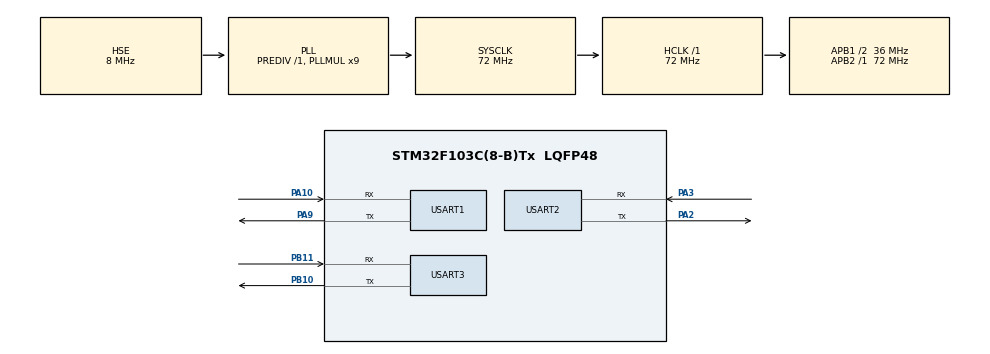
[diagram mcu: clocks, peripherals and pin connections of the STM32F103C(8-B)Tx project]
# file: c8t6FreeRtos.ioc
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FREERTOS.MEMORY_ALLOCATION=0
FREERTOS.Tasks01=defaultTask,0,128,StartDefaultTask,Default,NULL,Dynamic,NULL,NULL
FREERTOS.configMAX_PRIORITIES=15
Mcu.Family=STM32F1
Mcu.Name=STM32F103C(8-B)Tx
Mcu.Package=LQFP48
NVIC.PriorityGroup=NVIC_PRIORITYGROUP_4
NVIC.TIM1_UP_IRQn=true\:0\:0\:false\:false\:true\:false\:false\:true
NVIC.TimeBase=TIM1_UP_IRQn
NVIC.TimeBaseIP=TIM1
NVIC.USART1_IRQn=true\:5\:0\:false\:false\:true\:true\:true\:true
NVIC.USART2_IRQn=true\:5\:0\:false\:false\:true\:true\:true\:true
NVIC.USART3_IRQn=true\:5\:0\:false\:false\:true\:true\:true\:true
PA10.Mode=Asynchronous
PA10.Signal=USART1_RX
PA13.Mode=Serial_Wire
PA13.Signal=SYS_JTMS-SWDIO
PA14.Mode=Serial_Wire
PA14.Signal=SYS_JTCK-SWCLK
PA2.Mode=Asynchronous
PA2.Signal=USART2_TX
PA3.Mode=Asynchronous
PA3.Signal=USART2_RX
PA9.Mode=Asynchronous
PA9.Signal=USART1_TX
PB10.Mode=Asynchronous
PB10.Signal=USART3_TX
PB11.Mode=Asynchronous
PB11.Signal=USART3_RX
PD0-OSC_IN.Mode=HSE-External-Oscillator
PD0-OSC_IN.Signal=RCC_OSC_IN
PD1-OSC_OUT.Mode=HSE-External-Oscillator
PD1-OSC_OUT.Signal=RCC_OSC_OUT
ProjectManager.HeapSize=0x200
ProjectManager.StackSize=0x400
ProjectManager.TargetToolchain=MDK-ARM V5.27
RCC.AHBFreq_Value=72000000
RCC.APB1CLKDivider=RCC_HCLK_DIV2
RCC.APB1Freq_Value=36000000
RCC.APB1TimFreq_Value=72000000
RCC.APB2Freq_Value=72000000
RCC.APB2TimFreq_Value=72000000
RCC.HCLKFreq_Value=72000000
RCC.PLLMUL=RCC_PLL_MUL9
RCC.PLLSourceVirtual=RCC_PLLSOURCE_HSE
RCC.SYSCLKFreq_VALUE=72000000
RCC.SYSCLKSource=RCC_SYSCLKSOURCE_PLLCLK
RCC.USBFreq_Value=72000000
USART1.VirtualMode=VM_ASYNC
USART2.VirtualMode=VM_ASYNC
USART3.VirtualMode=VM_ASYNC
VP_FREERTOS_VS_CMSIS_V1.Mode=CMSIS_V1
VP_SYS_VS_tim1.Mode=TIM1
board=custom

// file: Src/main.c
#include "main.h"
#include "cmsis_os.h"
#include "infrared.h"

/*7月23日之前一直用的是01系列的8266*/
/*7月23日加入了新版07系列的8266*/

#ifdef __GNUC__
  #define PUTCHAR_PROTOTYPE int __io_putchar(int ch)
#else
  #define PUTCHAR_PROTOTYPE int fputc(int ch, FILE *f)
#endif

PUTCHAR_PROTOTYPE
{
  HAL_UART_Transmit(&huart3,(uint8_t *)&ch,1,0xFFFF);//阻塞方式打印
  return ch;
}
/* USER CODE END PD */

UART_HandleTypeDef huart1;
UART_HandleTypeDef huart2;
UART_HandleTypeDef huart3;
IWDG_HandleTypeDef hiwdg;

osThreadId defaultTaskHandle;

UPDATE_ALL_TABLE_TYPEDEF  all_table_data={.id = {0}};
TO_APP_Typedef to_app={.id = {0}};
NOW_TIME_STAMP_Typedef now_time_stamp;
UPDATE_ALL_TABLE_TYPEDEF download_update_table = {.id = {0}};
AIR_SAVE_CODE_TYPE air_save_code;

TABBLE_TRIG table_update_trig = {
	.lcd_id_recover=false,
	.pc_to_mcu_trig=false,
	.net_to_mcu_trig=false,
	.lcd_to_mcu_trig=false,
	.mcu_to_pc_trig=true,
	.mcu_to_net_trig=true,
  .mcu_to_lcd_trig=true,
	.net_trig = true,
	.write_flash = false,
	.get_pc_heart = true,
	.mcu_send_to_app_to_pc = false,
	.change_id = false,
	.lcd_work_mode = IS_AUTO_MODE,
	.get_wifi_new_con = false,
	.pc_change_work_status = false,
	.net_change_work_status = false,
	.update_net_time_trig = false,
	.update_net_trig_send = false,
	.lcd_id_mcu = false,
	.mcu_id_lcd = false,
	.wifi_pc_mode = false		//false 为wifi模式，true为PC模式
};

__485_CMD_Type __485_send_cmd={
	.head = _485_CMD_HEAD,
	.tail = _485_CMD_TAIL,
};

uint32_t get_tamp;
WORK_WAY_TYEP work_way_status = {.head = GET_DEV_STATUS_HEAD,.tail = GET_DEV_STATUS_TAIL};
FLASH_STORE flash_store;
NET_TIME net_time;

/* USER CODE BEGIN PV */
USART1_RCV_Typedef usart1_rcv;
USARTx_RCV_Typedef usart2_rcv;
USARTx_RCV_Typedef usart3_rcv;

uint8_t network_pc_count = 0;	//wifi PC端转换计数器
/* USER CODE END PV */
static char topic[70];

void SystemClock_Config(void);
static void MX_GPIO_Init(void);
static void MX_USART1_UART_Init(void);
static void MX_USART2_UART_Init(void);
static void MX_USART3_UART_Init(void);
void StartDefaultTask(void const * argument);

/* USER CODE BEGIN PFP */
/************************************************任务创建配置*********************************************/
/**********freeRtos开始任务函数*******************/
#define START_TASK_PRIO		1
#define START_STK_SIZE 		128
TaskHandle_t StartTask_Handler;
void start_task(void *pvParameters);

/**********网络处理任务*******************/
#define NET_WORK_TASK_PRIO		2
#define NET_WORK_STK_SIZE 		700
TaskHandle_t NET_WORK_Task_Handler;
TaskHandle_t NET_WORK_Task_Handler1;
void esp826601_net_work_task(void *pvParameters);
void esp826607_net_work_task(void *pvParameters);
/**********触摸屏处理任务*******************/
#define LCD_TASK_PRIO		3
#define LCD_STK_SIZE 		350
TaskHandle_t LCD_Task_Handler;
void lcd_task(void *pvParameters);
/**********继电器处理任务*******************/
#define RELAY_TASK_PRIO		4
#define RELAY_STK_SIZE 		100
TaskHandle_t RELAY_Task_Handler;
void relay_task(void *pvParameters);

/**********温湿度读取任务*******************/
#define TEMP_HUMI_TASK_PRIO		5
#define TEMP_HUMI_STK_SIZE 		350
TaskHandle_t TEMP_HUMI_Task_Handler;
void temp_humi_task(void *pvParameters);
/**********任务*******************/
#define RUN_DEAL_TASK_PRIO		6
#define RUN_DEAL_STK_SIZE 		400
TaskHandle_t RUN_DEAL_Task_Handler;
void run_deal_task(void *pvParameters);
/**********pc端通信任务*******************/
#define PC_DEAL_TASK_PRIO		7
#define PC_DEAL_STK_SIZE 		250
TaskHandle_t PC_DEAL_Task_Handler;
void pc_deal_task(void *pvParameters);
/* USER CODE END PFP */

int main(void)
{
   flash_read((uint16_t*)&all_table_data,sizeof(UPDATE_ALL_TABLE_TYPEDEF));
	//将flash的id，后13位置位0
	memset(all_table_data.id+13,0,7);

		//读取设备工作模式和WIFI名字和密码
	flash__read((uint16_t*)&flash_store,sizeof(FLASH_STORE));

	if(flash_store.work_way_status.head != GET_DEV_STATUS_HEAD || flash_store.work_way_status.tail !=GET_DEV_STATUS_TAIL ){
		flash_store.work_way_status.head = GET_DEV_STATUS_HEAD;
		flash_store.work_way_status.tail = GET_DEV_STATUS_TAIL;
		flash_store.work_way_status.reasure_count = 0;
		flash_store.work_way_status.work_status = GONGYU_STA;
	}

  /* Reset of all peripherals, Initializes the Flash interface and the Systick. */
  HAL_Init();

  /* Configure the system clock */
  SystemClock_Config();

  /* Initialize all configured peripherals */
	Ir_Init();
  MX_GPIO_Init();
  MX_USART1_UART_Init();
  MX_USART2_UART_Init();
  MX_USART3_UART_Init();

  /* USER CODE BEGIN 2 */

	to_app.head = TO_APP_HEAD;
	to_app.tail = TO_APP_TAIL;
	all_table_data.head = TABLE_HEAD;
	all_table_data.tail = TABLE_TAIL;

	memcpy(to_app.id ,all_table_data.id,sizeof(all_table_data.id));
	memcpy(__485_send_cmd.id ,all_table_data.id,sizeof(__485_send_cmd.id));

	wifi_cfg=flash_store.wifi_cfg;
	wifi_cfg.wif_conect_status = false;
	wifi_cfg.enable = true;
	work_way_status = flash_store.work_way_status;

   xTaskCreate((TaskFunction_t )start_task,            //任务函数
                (const char*    )"start_task",          //任务名称
                (uint16_t       )START_STK_SIZE,        //任务堆栈大小
                (void*          )NULL,                  //传递给任务函数的参数
                (UBaseType_t    )START_TASK_PRIO,       //任务优先级
                (TaskHandle_t*  )&StartTask_Handler);   //任务句柄
   vTaskStartScheduler();          //开启任务

  while (1)
  {

  /* USER CODE END 3 */
	}
}
void SystemClock_Config(void)
{
  RCC_OscInitTypeDef RCC_OscInitStruct = {0};
  RCC_ClkInitTypeDef RCC_ClkInitStruct = {0};

  /** Initializes the RCC Oscillators according to the specified parameters
  * in the RCC_OscInitTypeDef structure.
  */
  RCC_OscInitStruct.OscillatorType = RCC_OSCILLATORTYPE_HSE;
  RCC_OscInitStruct.HSEState = RCC_HSE_ON;
  RCC_OscInitStruct.HSEPredivValue = RCC_HSE_PREDIV_DIV1;
  RCC_OscInitStruct.HSIState = RCC_HSI_ON;
  RCC_OscInitStruct.PLL.PLLState = RCC_PLL_ON;
  RCC_OscInitStruct.PLL.PLLSource = RCC_PLLSOURCE_HSE;
  RCC_OscInitStruct.PLL.PLLMUL = RCC_PLL_MUL9;
  if (HAL_RCC_OscConfig(&RCC_OscInitStruct) != HAL_OK)
  {
    Error_Handler();
  }
  /** Initializes the CPU, AHB and APB buses clocks
  */
  RCC_ClkInitStruct.ClockType = RCC_CLOCKTYPE_HCLK|RCC_CLOCKTYPE_SYSCLK
                              |RCC_CLOCKTYPE_PCLK1|RCC_CLOCKTYPE_PCLK2;
  RCC_ClkInitStruct.SYSCLKSource = RCC_SYSCLKSOURCE_PLLCLK;
  RCC_ClkInitStruct.AHBCLKDivider = RCC_SYSCLK_DIV1;
  RCC_ClkInitStruct.APB1CLKDivider = RCC_HCLK_DIV2;
  RCC_ClkInitStruct.APB2CLKDivider = RCC_HCLK_DIV1;

  if (HAL_RCC_ClockConfig(&RCC_ClkInitStruct, FLASH_LATENCY_2) != HAL_OK)
  {
    Error_Handler();
  }
}

static void MX_USART1_UART_Init(void)
{

  huart1.Instance = USART1;
  huart1.Init.BaudRate = 115200;
  huart1.Init.WordLength = UART_WORDLENGTH_8B;
  huart1.Init.StopBits = UART_STOPBITS_1;
  huart1.Init.Parity = UART_PARITY_NONE;
  huart1.Init.Mode = UART_MODE_TX_RX;
  huart1.Init.HwFlowCtl = UART_HWCONTROL_NONE;
  huart1.Init.OverSampling = UART_OVERSAMPLING_16;
  if (HAL_UART_Init(&huart1) != HAL_OK)
  {
    Error_Handler();
  }
  /* USER CODE BEGIN USART1_Init 2 */
	__HAL_UART_ENABLE_IT(&huart1, UART_IT_IDLE);
	HAL_UART_Receive_IT(&huart1, usart1_rcv.arry, USART1_RCV_MAX_LEN);
  /* USER CODE END USART1_Init 2 */

}

static void MX_USART2_UART_Init(void)
{

  huart2.Instance = USART2;
  huart2.Init.BaudRate = 115200;
  huart2.Init.WordLength = UART_WORDLENGTH_8B;
  huart2.Init.StopBits = UART_STOPBITS_1;
  huart2.Init.Parity = UART_PARITY_NONE;
  huart2.Init.Mode = UART_MODE_TX_RX;
  huart2.Init.HwFlowCtl = UART_HWCONTROL_NONE;
  huart2.Init.OverSampling = UART_OVERSAMPLING_16;
  if (HAL_UART_Init(&huart2) != HAL_OK)
  {
    Error_Handler();
  }
  /* USER CODE BEGIN USART2_Init 2 */
	__HAL_UART_ENABLE_IT(&huart2, UART_IT_IDLE);
	HAL_UART_Receive_IT(&huart2, usart2_rcv.arry, USARTx_RCV_MAX_LEN);
  /* USER CODE END USART2_Init 2 */

}

static void MX_USART3_UART_Init(void)
{

  huart3.Instance = USART3;
  huart3.Init.BaudRate = 115200;
  huart3.Init.WordLength = UART_WORDLENGTH_8B;
  huart3.Init.StopBits = UART_STOPBITS_1;
  huart3.Init.Parity = UART_PARITY_NONE;
  huart3.Init.Mode = UART_MODE_TX_RX;
  huart3.Init.HwFlowCtl = UART_HWCONTROL_NONE;
  huart3.Init.OverSampling = UART_OVERSAMPLING_16;
  if (HAL_UART_Init(&huart3) != HAL_OK)
  {
    Error_Handler();
  }
  /* USER CODE BEGIN USART3_Init 2 */
	__HAL_UART_ENABLE_IT(&huart3, UART_IT_IDLE);
	HAL_UART_Receive_IT(&huart3, usart3_rcv.arry, USARTx_RCV_MAX_LEN);
  /* USER CODE END USART3_Init 2 */

}

static void MX_GPIO_Init(void)
{

  /* GPIO Ports Clock Enable */
  __HAL_RCC_GPIOD_CLK_ENABLE();
  __HAL_RCC_GPIOA_CLK_ENABLE();
  __HAL_RCC_GPIOB_CLK_ENABLE();
	__HAL_RCC_GPIOC_CLK_ENABLE();

	GPIO_InitTypeDef GPIO_initStruct = {0};
	GPIO_initStruct.Pin = INS_LED_PIN;
	GPIO_initStruct.Mode = GPIO_MODE_OUTPUT_PP;
	GPIO_initStruct.Pull = GPIO_NOPULL;
	GPIO_initStruct.Speed = GPIO_SPEED_FREQ_HIGH;
	HAL_GPIO_Init(INS_LED_PORT,&GPIO_initStruct);

	GPIO_initStruct.Pin = wifi_LED_PIN;
	GPIO_initStruct.Mode = GPIO_MODE_OUTPUT_PP;
	GPIO_initStruct.Pull = GPIO_NOPULL;
	GPIO_initStruct.Speed = GPIO_SPEED_FREQ_HIGH;
	HAL_GPIO_Init(wifi_LED_PORT,&GPIO_initStruct);
					wifi_LED_OFF;
	relay_init();

	//看门狗时间 LSI 频率40khz,最小的时间:0.8
//	hiwdg.Instance =  IWDG;
//	hiwdg.Init.Prescaler = IWDG_PRESCALER_32;
//	hiwdg.Init.Reload = 0xFFF;
//  HAL_IWDG_Init(&hiwdg);
//	HAL_IWDG_Refresh(&hiwdg);
}

/* USER CODE BEGIN 4 */

//传感器
void huart1_recive_idel_reback(void)
{
	uint32_t idel_flag;

	//
  idel_flag = __HAL_UART_GET_FLAG(&huart1,UART_FLAG_IDLE);
	if(idel_flag != RESET){
		__HAL_UART_CLEAR_IDLEFLAG(&huart1);
		usart1_rcv.count =  USART1_RCV_MAX_LEN - huart1.RxXferCount;

		usart1_rcv.rcv_ok = true;

		if(usart1_rcv.arry[0] == CHANGE_ID_HEAD && usart1_rcv.arry[usart1_rcv.count-3] == CHANGE_ID_TAIL ){
			    download_update_table = *((UPDATE_ALL_TABLE_TYPEDEF*)&usart1_rcv.arry[0]);
					uint16_t crc = CRC16_2_modbus((uint8_t*)&download_update_table,sizeof(UPDATE_ALL_TABLE_TYPEDEF)-2);
					if(download_update_table.crc == crc){
							all_table_data = download_update_table;
						  table_update_trig.change_id = true;
							__485_send_cmd.cmd = DEV_ALIVE_PACK_BACK;
							__485_send_cmd.crc =  CRC16_2_modbus((uint8_t*)&__485_send_cmd,sizeof(__485_CMD_Type)-2);
							HAL_UART_Transmit_IT(&huart1,(uint8_t*)&__485_send_cmd,sizeof(__485_CMD_Type));
					}
		}

		if(usart1_rcv.arry[0] == GET_AIR_CODE_HEAD && usart1_rcv.arry[usart1_rcv.count-3] == GET_AIR_CODE_TAIL ){
						//air_save_code = *((AIR_SAVE_CODE_TYPE*)&usart1_rcv.arry[0]);
						memset(&save_data,0,sizeof(save_data));
						memcpy(&air_save_code,usart1_rcv.arry,sizeof(air_save_code));
						uint16_t crc = CRC16_2_modbus((uint8_t*)&air_save_code,sizeof(AIR_SAVE_CODE_TYPE)-2);
						if( air_save_code.crc == crc){
								save_data = air_save_code.data;
								if( (AIR_STATUS)air_save_code.air == AIR_CLOSE ){
											table_update_trig.pc_air_learn.air_close_learn_status = true;
								}else if( (AIR_STATUS)air_save_code.air == AIR_COLD){
											table_update_trig.pc_air_learn.air_clod_learn_status = true;
								}else if( (AIR_STATUS)air_save_code.air == AIR_HEAT){
											table_update_trig.pc_air_learn.air_heat_learn_status = true;
								}
						}
		}
		HAL_UART_AbortReceive_IT(&huart1);
		HAL_UART_Receive_IT(&huart1, usart1_rcv.arry, USART1_RCV_MAX_LEN);
	}

}

//屏幕
void huart2_recive_idel_reback(void)
{
	uint32_t idel_flag;
	//uint32_t clr_1;
	const uint8_t trig[14] 			= {0xEE,0XB1,0X11,0X00,0X07,0X00,0X01,0X10,0X00,0X01,0XFF,0XFC,0XFF,0XFF};
	const uint8_t air_heat[14]	= {0xEE,0xB1,0x11,0x00,0x0E,0x00,0x02,0x10,0x01,0x01,0xFF,0xFC,0xFF,0xFF};
	const uint8_t air_clod[14]	= {0xEE,0xB1,0x11,0x00,0x0E,0x00,0x03,0x10,0x01,0x01,0xFF,0xFC,0xFF,0xFF};
	const uint8_t air_close[14]	= {0xEE,0xB1,0x11,0x00,0x0E,0x00,0x04,0x10,0x01,0x01,0xFF,0xFC,0xFF,0xFF};
	const uint8_t wifi_con[14] 	= {0xEE,0xB1,0x11,0x00,0x10,0x00,0x04,0x10,0x01,0x01,0xFF,0xFC,0xFF,0xFF};

	const uint8_t id_trig[] 		= {0xEE,0xB1,0x11,0x00,0x0D,0x00,0x0B,0x10,0x01,0x01,0xFF,0xFC,0xFF,0xFF};

	const uint8_t system_id_recover[] = {0xEE,0xB1,0x11,0x00,0x14,0x00,0x03,0x10,0x01,0x01,0xFF,0xFC,0xFF,0xFF };

  idel_flag = __HAL_UART_GET_FLAG(&huart2,UART_FLAG_IDLE);
	if(idel_flag != RESET){
		 __HAL_UART_CLEAR_IDLEFLAG(&huart2);
		usart2_rcv.count =  USARTx_RCV_MAX_LEN - huart2.RxXferCount;;
		usart2_rcv.rcv_ok = true;

		if(memcmp(usart2_rcv.arry,trig,sizeof(trig)) == 0){
				table_update_trig.lcd_to_mcu_trig = true;
				usart2_rcv.count =0;
		}
		else if( memcmp(usart2_rcv.arry,id_trig,sizeof(id_trig)) == 0){
				table_update_trig.lcd_id_mcu = true;
				usart2_rcv.count =0;
		}

		if(memcmp(usart2_rcv.arry,system_id_recover,sizeof(system_id_recover)) == 0){
			table_update_trig.lcd_id_recover = true;
			usart2_rcv.count =0;
		}

		if(memcmp(usart2_rcv.arry,air_heat,sizeof(air_heat)) == 0){
			air_learn_status.air_heat_learn_status = true;
		}else if(memcmp(usart2_rcv.arry,air_clod,sizeof(air_clod)) == 0){
		  air_learn_status.air_clod_learn_status = true;
		}else if(memcmp(usart2_rcv.arry,air_close,sizeof(air_close)) == 0){
			air_learn_status.air_close_learn_status = true;
		}else if(memcmp(usart2_rcv.arry,wifi_con,sizeof(wifi_con)) == 0){
			table_update_trig.wifi_con = true;
		}

		HAL_UART_AbortReceive_IT(&huart2);
	  HAL_UART_Receive_IT(&huart2, usart2_rcv.arry, USARTx_RCV_MAX_LEN);

	}
}

//PC WIFI 红外
void huart3_recive_idel_reback(void)
{
	uint32_t idel_flag;
	//uint32_t clr_3;
	//__485_CMD_Type cmd_type;
  idel_flag = __HAL_UART_GET_FLAG(&huart3,UART_FLAG_IDLE);
	if(idel_flag != RESET){
		 __HAL_UART_CLEAR_IDLEFLAG(&huart3);
		usart3_rcv.count =  USARTx_RCV_MAX_LEN - huart3.RxXferCount;;
		usart3_rcv.rcv_ok = true;
		__485_CMD_Type cmd_type;

	if(usart3_rcv.arry[0] == CHANGE_ID_HEAD && usart3_rcv.arry[usart3_rcv.count-3] == CHANGE_ID_TAIL ){
			    download_update_table = *((UPDATE_ALL_TABLE_TYPEDEF*)&usart3_rcv.arry[0]);
					uint16_t crc = CRC16_2_modbus((uint8_t*)&download_update_table,sizeof(UPDATE_ALL_TABLE_TYPEDEF)-2);
					if(download_update_table.crc == crc){
							all_table_data = download_update_table;
						  table_update_trig.change_id = true;
							__485_send_cmd.cmd = DEV_ALIVE_PACK_BACK;
							__485_send_cmd.crc =  CRC16_2_modbus((uint8_t*)&__485_send_cmd,sizeof(__485_CMD_Type)-2);
							HAL_UART_Transmit_IT(&huart3,(uint8_t*)&__485_send_cmd,sizeof(__485_CMD_Type));
					}
		}
		else if(usart3_rcv.arry[0] == _485_CMD_HEAD && usart3_rcv.arry[usart3_rcv.count-3] == _485_CMD_TAIL){
			cmd_type = *((__485_CMD_Type*)&usart3_rcv.arry[0]);
			if(strcmp(cmd_type.id,to_app.id) == 0)
			 switch(cmd_type.cmd){
				 case DEV_ALIVE_PACK:
					    table_update_trig.mcu_send_to_app_to_pc = true;
				      break;
				 case AIR_HEAT_LEARN_STA:
					    air_learn_status.air_heat_learn_status = true;
				      break;
				 case AIR_CLOD_LEARN_STA:
					    air_learn_status.air_clod_learn_status = true;
				      break;
				 case AIR_CLOSE_LEARN_STA:
					    air_learn_status.air_close_learn_status = true;
				      break;

			 }
		}else if(usart3_rcv.arry[0] == GET_DEV_STATUS_HEAD && usart3_rcv.arry[usart3_rcv.count-3] == GET_DEV_STATUS_TAIL){
		   static WORK_WAY_TYEP work_way1;

			 work_way1 = *((WORK_WAY_TYEP*)&usart3_rcv.arry[0]);
			 uint16_t crc = CRC16_2_modbus((uint8_t*)&work_way1,sizeof(WORK_WAY_TYEP)-2);
			 if(work_way1.crc == crc && strcmp(work_way1.id,to_app.id) == 0){
				work_way1.reasure_count = work_way_status.reasure_count;
				work_way_status = work_way1;
				table_update_trig.pc_change_work_status = true;
			 }
		}

		for(uint8_t i=0;i<usart3_rcv.count;i++){
			if(usart3_rcv.arry[i] == TABLE_HEAD){
				if(usart3_rcv.arry[i+sizeof(UPDATE_ALL_TABLE_TYPEDEF)-3]== TABLE_TAIL){
					download_update_table = *((UPDATE_ALL_TABLE_TYPEDEF*)&usart3_rcv.arry[i]);
					uint16_t crc = CRC16_2_modbus((uint8_t*)&download_update_table,sizeof(UPDATE_ALL_TABLE_TYPEDEF)-2);
					if(download_update_table.crc == crc){
						if(strcmp(download_update_table.id,to_app.id) == 0){
							all_table_data = download_update_table;
							table_update_trig.mcu_to_pc_trig = true;
							table_update_trig.mcu_to_lcd_trig = true;
							table_update_trig.update_net_trig_send = true;
							table_update_trig.net_change_work_status = true;
						}
					}
				}
			}else if(usart3_rcv.arry[i] == GET_DEV_STATUS_HEAD){
				if(usart3_rcv.arry[i+sizeof(WORK_WAY_TYEP)-3]== GET_DEV_STATUS_TAIL){
					static WORK_WAY_TYEP work_way;
					work_way = *((WORK_WAY_TYEP*)&usart3_rcv.arry[i]);
					uint16_t crc = CRC16_2_modbus((uint8_t*)&work_way,sizeof(WORK_WAY_TYEP)-2);
					if(work_way.crc == crc && strcmp(work_way.id,to_app.id) == 0){
						work_way.reasure_count = work_way_status.reasure_count;
						work_way_status = work_way;
						table_update_trig.net_change_work_status = true;
					}
				}
			}else if(usart3_rcv.arry[i] == GET_NET_TIME_HEAD){
				if(usart3_rcv.arry[i+sizeof(NET_TIME)-3]== GET_NET_TIME_TAIL){
					NET_TIME now_time_;
					now_time_ = *((NET_TIME*)&usart3_rcv.arry[i]);
					uint16_t crc = CRC16_2_modbus((uint8_t*)&now_time_,sizeof(NET_TIME)-2);
					if(now_time_.crc == crc){
						net_time = now_time_;
						table_update_trig.update_net_time_trig = true;

					}

				}
			}
		}

		HAL_UART_AbortReceive_IT(&huart3);
	  HAL_UART_Receive_IT(&huart3, usart3_rcv.arry, USARTx_RCV_MAX_LEN);
	}
}

//开始任务任务函数
void start_task(void *pvParameters)
{

    taskENTER_CRITICAL();           //进入临界区
    //创建NET_WORK任务

		    xTaskCreate((TaskFunction_t )esp826601_net_work_task,
                (const char*    )"esp826601_net_work_task",
                (uint16_t       )START_STK_SIZE,
                (void*          )NULL,
                (UBaseType_t    )NET_WORK_TASK_PRIO,
                (TaskHandle_t*  )&NET_WORK_Task_Handler);

		//创建LCD任务
    xTaskCreate((TaskFunction_t )lcd_task,
                (const char*    )"lcd_task",
                (uint16_t       )LCD_STK_SIZE,
                (void*          )NULL,
                (UBaseType_t    )LCD_TASK_PRIO,
                (TaskHandle_t*  )&LCD_Task_Handler);

		//创建RELAY任务
    xTaskCreate((TaskFunction_t )relay_task,
                (const char*    )"relay_task",
                (uint16_t       )RELAY_STK_SIZE,
                (void*          )NULL,
                (UBaseType_t    )RELAY_TASK_PRIO,
                (TaskHandle_t*  )&RELAY_Task_Handler);

    //创建TEMP_HUMI任务
    xTaskCreate((TaskFunction_t )temp_humi_task,
                (const char*    )"temp_humi_task",
                (uint16_t       )TEMP_HUMI_STK_SIZE,
                (void*          )NULL,
                (UBaseType_t    )TEMP_HUMI_TASK_PRIO,
                (TaskHandle_t*  )&TEMP_HUMI_Task_Handler);
		//创建任务
    xTaskCreate((TaskFunction_t )run_deal_task,
                (const char*    )"run_deal_task",
                (uint16_t       )RUN_DEAL_STK_SIZE,
                (void*          )NULL,
                (UBaseType_t    )RUN_DEAL_TASK_PRIO,
                (TaskHandle_t*  )&RUN_DEAL_Task_Handler);
	 //创建任务
    xTaskCreate((TaskFunction_t )pc_deal_task,
                (const char*    )"pc_deal_task",
                (uint16_t       )PC_DEAL_STK_SIZE,
                (void*          )NULL,
                (UBaseType_t    )PC_DEAL_TASK_PRIO,
                (TaskHandle_t*  )&PC_DEAL_Task_Handler);

    vTaskDelete(StartTask_Handler); //删除开始任务
    taskEXIT_CRITICAL();            //退出临界区
}

void esp826607_net_work_task(void *pvParameters)
{

   static uint8_t time_out = 0,wifi_time_out = 0;
		static uint8_t flag=0;

	 for(;;){
	  while(esp826607wifi_connect() != SUCCESS){
						while(table_update_trig.wifi_pc_mode){		//wifi与PC端模式转换
								if( network_pc_count++ > 10 ){
										network_pc_count = 0;
									  table_update_trig.wifi_pc_mode = false;
									  break;
								}
								vTaskDelay(1000);
						}
		}
		wifi_cfg.enable = false;
		table_update_trig.mcu_to_net_trig = true;
		printf("AT+MQTTSUB=0,\"dev/send/%s\",1\r\n",to_app.id);
		vTaskDelay(1000);
		printf("AT+MQTTSUB=0,\"dev/send_time\",1\r\n");

    while(1)
    {
      if(wifi_cfg.enable == true || wifi_cfg.wif_conect_status == false)
			{
				break;
			}

			static TO_APP_Typedef to_app_data;

			if( (time_out++>= 7 || table_update_trig.update_net_trig_send)&&(table_update_trig.mcu_to_net_trig == false))
					{
						table_update_trig.update_net_trig_send = false;
						time_out = 0;
						to_app_data = to_app;
						to_app_data.crc =CRC16_2_modbus((uint8_t*)&to_app_data,sizeof(TO_APP_Typedef)-2);
						sprintf(topic,"AT+MQTTPUBRAW=0,\"dev/recive/%s\",%d,0,0\r\n",to_app.id,sizeof(TO_APP_Typedef));
						vTaskDelay(1000);

						if(sendCommand(topic, "OK", 10,1) == SUCCESS)
						{
									HAL_UART_Transmit(&huart3,(uint8_t*)&to_app_data,sizeof(TO_APP_Typedef),0xffff);
									vTaskDelay(1000);
									printf("AT\r\n");
									flag=0;
						}
						else
						{
								table_update_trig.update_net_trig_send = true;
								printf("AT\r\n");
								flag+=1;
								if(flag > 3)
								{
									printf("AT+RST\r\n");
									flag=0;
								}

						}

						vTaskDelay(1000);
						printf("AT+MQTTSUB=0,\"dev/send/%s\",1\r\n",to_app.id);
						vTaskDelay(1000);
						printf("AT+MQTTSUB=0,\"dev/send_time\",1\r\n");
					}

					static UPDATE_ALL_TABLE_TYPEDEF payload ;
					payload = all_table_data;
					payload.crc = CRC16_2_modbus((uint8_t*)&payload,sizeof(UPDATE_ALL_TABLE_TYPEDEF)-2);

			if(table_update_trig.mcu_to_net_trig == true)
				{
						printf("AT\r\n");
						vTaskDelay(1000);
						memset(topic,0,sizeof(topic));

						sprintf(topic,"AT+MQTTPUBRAW=0,\"dev/recive/%s\",%d,0,0\r\n",to_app.id,sizeof(UPDATE_ALL_TABLE_TYPEDEF));
						if(sendCommand(topic,"OK",10,1)==SUCCESS)
					{
						HAL_UART_Transmit(&huart3,(uint8_t*)&payload,sizeof(UPDATE_ALL_TABLE_TYPEDEF),0xffff);
											table_update_trig.mcu_to_net_trig = false;
							table_update_trig.net_change_work_status = true;
					}
					else
					{
					 	flag+=1;
						if(flag > 3)
						{
							printf("AT+RST\r\n");
							flag=0;
						}
					}
						vTaskDelay(1000);
						printf("AT\r\n");
							vTaskDelay(1000);
						printf("AT\r\n");
				}

     if(table_update_trig.net_change_work_status == true)
			 {
					static WORK_WAY_TYEP work_way_status_;
					work_way_status_ = work_way_status;
					work_way_status_.crc = CRC16_2_modbus((uint8_t*)&work_way_status_,sizeof(WORK_WAY_TYEP)-2);
					sprintf(topic,"AT+MQTTPUBRAW=0,\"dev/recive/%s\",%d,0,0\r\n",to_app.id,sizeof(WORK_WAY_TYEP));

					if((sendCommand(topic,"OK",10,1)==SUCCESS))
						{
								HAL_UART_Transmit(&huart3,(uint8_t*)&work_way_status_,sizeof(WORK_WAY_TYEP),0xffff);
								table_update_trig.net_change_work_status = false;

								flash_store.wifi_cfg = wifi_cfg;
								flash_store.work_way_status = work_way_status;
								flash__write((uint16_t*)&flash_store,sizeof(FLASH_STORE));
						}
					else
						{
					 	flag+=1;
						if(flag > 3)
						{
							printf("AT+RST\r\n");
							flag=0;
						}
						}
					vTaskDelay(1000);
					printf("AT\r\n");
					vTaskDelay(1000);
					printf("AT\r\n");
			  }
			 vTaskDelay(1000);
			 printf("AT\r\n");
		 //检测这个网络是否存在
		 if( (wifi_time_out++ > 3) &&
				(table_update_trig.mcu_to_net_trig == false) ){
					vTaskDelay(1000);
					wifi_time_out = 0;
					if(sendCommand("AT+CWJAP?\r\n", "CWJAP",10,1) != SUCCESS){
						wifi_cfg.wif_conect_status = false;
						wifi_cfg.enable = true;
					}
				}
				wifi_LED_Toggle;
			}
		}
 }

void esp826601_net_work_task(void *pvParameters)
{
   static uint8_t time_out = 0;
	 //static uint8_t dis_count = 0;

	 if ( sendCommand("AT+GMR\r\n", "OK", 10,3) != SUCCESS ){
	 for(;;){

				while(esp826601_wifi_connect() != SUCCESS){

								while(table_update_trig.wifi_pc_mode){
										if( network_pc_count++ > 10 ){
												network_pc_count = 0;
												table_update_trig.wifi_pc_mode = false;
												break;
										}
										vTaskDelay(1000);
								}
				}

				wifi_cfg.enable = false;
				table_update_trig.mcu_to_net_trig = true;
				printf("AT+SUB=dev/send/%s,0\r\n",to_app.id);
				vTaskDelay(300);
				printf("AT+SUB=dev/send_time,0\r\n");
				vTaskDelay(300);

				while(1)
				{
					if(wifi_cfg.enable == true || wifi_cfg.wif_conect_status == false){
						break;
					}
					usart2_rcv.rcv_ok = false;

					static TO_APP_Typedef to_app_data;
					sprintf(topic,"AT+PUB=dev/recive/%s,",to_app.id);

					if(time_out++>= 10 || table_update_trig.update_net_trig_send){
						table_update_trig.update_net_trig_send = false;
						time_out = 0;
						to_app_data = to_app;
						to_app_data.crc = 	CRC16_2_modbus((uint8_t*)&to_app_data,sizeof(TO_APP_Typedef)-2);
						sprintf(topic,"AT+PUB=dev/recive/%s,",to_app.id);
						printf("%s",topic);
						HAL_UART_Transmit(&huart3,(uint8_t*)&to_app_data,sizeof(TO_APP_Typedef),0xffff);
						printf(",0\r\n");

						usart3_rcv.rcv_ok = false;

							vTaskDelay(1000);
							if(usart3_rcv.rcv_ok == true){
								usart3_rcv.rcv_ok = false;

									if (strstr((char*)(usart3_rcv.arry), "Publish ok") == NULL)
											table_update_trig.update_net_trig_send = true;
							}

						vTaskDelay(300);
						printf("AT+SUB=dev/send/%s,0\r\n",to_app.id);
						vTaskDelay(300);
						printf("AT+SUB=dev/send_time,0\r\n");
					}

					static UPDATE_ALL_TABLE_TYPEDEF payload ;
					payload = all_table_data;
					payload.crc = CRC16_2_modbus((uint8_t*)&payload,sizeof(UPDATE_ALL_TABLE_TYPEDEF)-2);

					if(table_update_trig.mcu_to_net_trig == true){
						printf("%s",topic);
						HAL_UART_Transmit(&huart3,(uint8_t*)&payload,sizeof(UPDATE_ALL_TABLE_TYPEDEF),0xffff);
						printf(",0\r\n");
						table_update_trig.mcu_to_net_trig = false;
						vTaskDelay(300);
				 }

				 if(table_update_trig.net_change_work_status == true){
						static WORK_WAY_TYEP work_way_status_;
						work_way_status_ = work_way_status;
						work_way_status_.crc = CRC16_2_modbus((uint8_t*)&work_way_status_,sizeof(WORK_WAY_TYEP)-2);
						printf("%s",topic);
						HAL_UART_Transmit(&huart3,(uint8_t*)&work_way_status_,sizeof(WORK_WAY_TYEP),0xffff);
						printf(",0\r\n");
						table_update_trig.net_change_work_status = false;
						flash_store.wifi_cfg = wifi_cfg;
						flash_store.work_way_status = work_way_status;
						flash__write((uint16_t*)&flash_store,sizeof(FLASH_STORE));
				 }

				// printf("AT+GRATE\r\n");
				 	 vTaskDelay(1000);
				 //检测这个网络是否存在
				 if(sendCommand("AT+GAPSTATUS\r\n", "AT+INFO=failed",1,1) == SUCCESS){
						wifi_cfg.wif_conect_status = false;
						wifi_cfg.enable = true;
				 }
				 wifi_LED_Toggle;
				}
			}
		}
	   taskENTER_CRITICAL();           //进入临界区
    //创建NET_WORK任务

		    xTaskCreate((TaskFunction_t )esp826607_net_work_task,
                (const char*    )"esp826607_net_work_task",
                (uint16_t       )START_STK_SIZE,
                (void*          )NULL,
                (UBaseType_t    )NET_WORK_TASK_PRIO,
                (TaskHandle_t*  )&NET_WORK_Task_Handler1);

	  vTaskDelete(NET_WORK_Task_Handler); //删除开始任务
    taskEXIT_CRITICAL();            //退出临界区

}

void lcd_task(void *pvParameters)
{

    static SWITCH_STATUS status;
		static uint8_t airStatus = 0XFF;
	  while(1){

			status = control_mode_from_lcd_hex();
			if(status != NO_DATA){
				table_update_trig.lcd_work_mode = (LCD_WORK_MODE)status;
			}
			if(table_update_trig.lcd_work_mode == IS_AUTO_MODE){
				deal_lcd_show();
			}else{

				infraDetect.isDetect = false;
				infraDetect.excute_air = 0xff;
				status = air_condition_to_lcd_hex();
				if(status != NO_DATA ){
					mcu_control_data.air =   (AIR_STATUS)status;
					if(airStatus != mcu_control_data.air)
					{
						airStatus = mcu_control_data.air;
						//HAL_UART_Transmit(&huart2,(uint8_t*)&Reset_Air, sizeof(Reset_Air),0xffff);
					}
				}
				status = heat_from_lcd_hex();
				if(status != NO_DATA ){
					mcu_control_data.relay.relay.heat =   (bool)status;
				}
				status = fill_wet_from_lcd_hex();
				if(status != NO_DATA ){
					mcu_control_data.relay.relay.humi =   (bool)status;
				}
				status = aeration_from_lcd_hex();
				if(status != NO_DATA ){
					mcu_control_data.relay.relay.breath =   (bool)status;
				}
				status = sensitive_from_lcd_hex();
				if(status != NO_DATA ){
					mcu_control_data.relay.relay.sensitive =   (bool)status;
				}
				status = air_uniform_from_lcd_hex();
				if(status != NO_DATA ){
					mcu_control_data.relay.relay.wind =   (bool)status;
				}
				status = light_from_lcd_hex();
				if(status != NO_DATA ){
					mcu_control_data.relay.relay.light =   (bool)status;
				}
				status = sterilize_from_lcd_hex();
				if(status != NO_DATA ){
					mcu_control_data.relay.relay.sterilize =   (bool)status;
				}
				status = dry_from_lcd_hex();
				if(status != NO_DATA ){
					mcu_control_data.relay.relay.dry =   (bool)status;
				}
			}
			//HAL_IWDG_Refresh(&hiwdg);
			HAL_GPIO_WritePin(INS_LED_PORT,INS_LED_PIN,!HAL_GPIO_ReadPin(INS_LED_PORT, INS_LED_PIN));
      vTaskDelay(300);
		}

}

void relay_task(void *pvParameters)
{
	while(1){

		deal_relay_run();

		wifi_Conect_Status_LED;

		vTaskDelay(300);
	}
}

void temp_humi_task(void *pvParameters)
{
	static uint8_t ok_count[6] = {0};
	static bool sensor_sta=0;
	static uint8_t sensor_sta_time_out = 0;

	while(1){
		TEMP_HUMI_TypeDef* now_senser;
		for(uint8_t i = 0;i<6;i++){
			now_senser = read_temp_humi(i+1);
			if(now_senser != NULL ){
				to_app.signle_senser[i].single_temp = now_senser->temp;
				to_app.signle_senser[i].signle_humi = now_senser->humi;
				if( ( now_senser->temp >= 10 && now_senser->temp <= 500 ) &&
				( now_senser->humi >= 10 && now_senser->humi <= 1000)){
						to_app.signle_senser[i].senser_status = SENSER_OK;
						ok_count[i] = 0;
				}
				else
				{
					to_app.signle_senser[i].senser_status = SENSER_FAIL;
				}

			}else{
				if(ok_count[i]++>=6){
					ok_count[i] = 0;
					to_app.signle_senser[i].senser_status = SENSER_DIS_CON;
					to_app.signle_senser[i].single_temp = 0;
					to_app.signle_senser[i].signle_humi = 0;
				}
			}
		}
		static uint32_t _temp_add = 0,_humi_add = 0;
		static uint8_t count  = 0;
		_temp_add = 0;_humi_add = 0;count = 0;
		for(uint8_t i = 0;i<6;i++){
			if(to_app.signle_senser[i].senser_status == SENSER_OK){
				count++;
				_temp_add+= to_app.signle_senser[i].single_temp+all_table_data.set_senser_diff[i].temp_adjust;
				_humi_add+= to_app.signle_senser[i].signle_humi+all_table_data.set_senser_diff[i].humi_adjust;
			}
		}
		if(count != 0 && sensor_sta){
			table_update_trig.senser_is_ok = true;
			to_app.temp = _temp_add/count;
			to_app.humi = _humi_add/count;
		}else{
			table_update_trig.senser_is_ok = false;
		}
		count = 0;

		/********************空调开始学习***********************/
	  if(air_learn_status.air_close_learn_status == true){
			learn_air_cmd(AIR_CLOSE);

		}
		else if (air_learn_status.air_heat_learn_status == true){
			learn_air_cmd(AIR_HEAT);

		}

		else if (air_learn_status.air_clod_learn_status == true){
			learn_air_cmd(AIR_COLD);

		}

		/********************空调学习完成***********************/
		if(air_learn_ok_status.air_clod_learn_status == true){
			send_air_cmd(AIR_COLD);
			table_update_trig.lcd_air_learn.air_clod_learn_status = true;
			air_learn_ok_status.air_clod_learn_status =false;
		}
		else if(air_learn_ok_status.air_close_learn_status == true){
			send_air_cmd(AIR_CLOSE);
			table_update_trig.lcd_air_learn.air_close_learn_status = true;
			air_learn_ok_status.air_close_learn_status =false;
		}
		else if(air_learn_ok_status.air_heat_learn_status == true){
			send_air_cmd(AIR_HEAT);
			table_update_trig.lcd_air_learn.air_heat_learn_status = true;
			air_learn_ok_status.air_heat_learn_status =false;
		}

		if( table_update_trig.pc_air_learn.air_heat_learn_status == true ){
				writeFlashTest((uint16_t*)&save_data,sizeof(save_data)/2,AIR_HEAT);
				table_update_trig.pc_air_learn.air_heat_learn_status  = false;
					__485_send_cmd.cmd = DEV_ALIVE_PACK_BACK;
					__485_send_cmd.crc =  CRC16_2_modbus((uint8_t*)&__485_send_cmd,sizeof(__485_CMD_Type)-2);
					HAL_UART_Transmit(&huart1,(uint8_t*)&__485_send_cmd,sizeof(__485_CMD_Type),0xfff);
		}
		else if( table_update_trig.pc_air_learn.air_close_learn_status == true ){
				writeFlashTest((uint16_t*)&save_data,sizeof(save_data)/2,AIR_CLOSE);
			__485_send_cmd.cmd = DEV_ALIVE_PACK_BACK;
				table_update_trig.pc_air_learn.air_close_learn_status  = false;
			  HAL_UART_Transmit(&huart1,(uint8_t*)&__485_send_cmd,sizeof(__485_CMD_Type),0xfff);

		}

		else if( table_update_trig.pc_air_learn.air_clod_learn_status == true ){
				writeFlashTest((uint16_t*)&save_data,sizeof(save_data)/2,AIR_COLD);
			__485_send_cmd.cmd = DEV_ALIVE_PACK_BACK;
				table_update_trig.pc_air_learn.air_clod_learn_status  = false;
				HAL_UART_Transmit(&huart1,(uint8_t*)&__485_send_cmd,sizeof(__485_CMD_Type),0xfff);

		}

		sensor_sta_time_out++;
		if(sensor_sta_time_out>= 3){
			sensor_sta_time_out = 4;
			sensor_sta = 1;
		}

		//LED_Toggle;
		vTaskDelay(500);
	}
}

void run_deal_task(void *pvParameters)
{
	while(1)
	{
		now_time_stamp.time_date_stamp = get_tamp-3600*8;
		now_time_stamp.oneday_time_stamp = (now_time_stamp.time_date_stamp+28800)%(86400);

		//判断是否为手动模式，并且传感器是否有效
	 if(table_update_trig.lcd_work_mode == IS_AUTO_MODE && table_update_trig.senser_is_ok){

			//判断模式是否为运行

      if(work_way_status.work_status == BAOZHONG_STA
				  || work_way_status.work_status == GONGYU_STA
			    || work_way_status.work_status == CUIQING_STA){

					//温度判断
					if(to_app.temp < (all_table_data.set_sensor[0].temp_center - all_table_data.set_sensor[0].temp_diff)){
						mcu_control_data.air = AIR_HEAT;
						mcu_control_data.relay.relay.heat = OPEN;
					}

					if(to_app.temp > (all_table_data.set_sensor[0].temp_center + all_table_data.set_sensor[0].temp_diff)){
						mcu_control_data.air = AIR_COLD;
						mcu_control_data.relay.relay.heat = CLOSE;
					}

					if(to_app.temp >= all_table_data.set_sensor[0].temp_center && mcu_control_data.air == AIR_HEAT){
						mcu_control_data.air = AIR_CLOSE;
					}

					if(to_app.temp <= all_table_data.set_sensor[0].temp_center && mcu_control_data.air == AIR_COLD){
						mcu_control_data.air = AIR_CLOSE;
					}

					//湿度判断
					if(to_app.humi < (all_table_data.set_sensor[0].humi_center - all_table_data.set_sensor[0].humi_diff)){
						mcu_control_data.relay.relay.humi = OPEN;
					}

					if(to_app.humi >= all_table_data.set_sensor[0].humi_center && mcu_control_data.relay.relay.humi == OPEN){
						mcu_control_data.relay.relay.humi = CLOSE;
					}

					if(to_app.humi >= 1000){
						mcu_control_data.relay.relay.humi = CLOSE;
					}

					if(to_app.humi >= (all_table_data.set_sensor[0].humi_center + all_table_data.set_sensor[0].humi_diff)){
						mcu_control_data.relay.relay.dry = OPEN;
					}

					if(to_app.humi <= (all_table_data.set_sensor[0].humi_center )){
						mcu_control_data.relay.relay.dry = CLOSE;
					}

	/*******************红外发送回检****************************/
					if(mcu_control_data.air != AIR_CLOSE  &&
						infraDetect.excute_air != mcu_control_data.air){
								infraDetect.excute_air = mcu_control_data.air;
								infraDetect.pre_temp = to_app.temp;
								infraDetect.Ctime =  get_tamp;
								infraDetect.isDetect = true;
						}

					if( infraDetect.isDetect && (get_tamp - infraDetect.Ctime > 300) ){
								if( infraDetect.excute_air == AIR_COLD ){
										if( to_app.temp >= infraDetect.pre_temp ){
												infraDetect.pre_temp = to_app.temp;
												infraDetect.Ctime = get_tamp;
												infraDetect.isSend = true;
										}
										else{
												infraDetect.isDetect = false;
										}
								}
								else if( infraDetect.excute_air == AIR_HEAT){
										if( to_app.temp <= infraDetect.pre_temp ){
												infraDetect.pre_temp = to_app.temp;
												infraDetect.Ctime = get_tamp;
												infraDetect.isSend = true;
										}
										else{
												infraDetect.isDetect = false;
										}
								}
					}

					bool open_flag = false;
					/**************************换气控制*****************************/
					open_flag = false;
					for(uint8_t i = 0;i<8;i++){
						if(i == 0){
							if(now_time_stamp.oneday_time_stamp < all_table_data.set_breath[i].time_sta){
								to_app.next_breath = all_table_data.set_breath[i];
							}
						}

						if(now_time_stamp.oneday_time_stamp >= all_table_data.set_breath[i].time_sta
							&& now_time_stamp.oneday_time_stamp <= (all_table_data.set_breath[i].time_sta + 60*all_table_data.set_breath[i].min_len)){
							open_flag = true;

							if(i < 7){
								to_app.next_breath = all_table_data.set_breath[i+1];
							}else{
								to_app.next_breath = all_table_data.set_breath[0];
							}
							break;
						}

						if(i < 7){
							if(now_time_stamp.oneday_time_stamp > all_table_data.set_breath[i].time_sta
								&& now_time_stamp.oneday_time_stamp < all_table_data.set_breath[i+1].time_sta){
									to_app.next_breath = all_table_data.set_breath[i+1];
								}
						}else{
							 if(now_time_stamp.oneday_time_stamp > all_table_data.set_breath[i].time_sta){
									to_app.next_breath = all_table_data.set_breath[0];
								}
						}

					}

					if(open_flag == true){
						mcu_control_data.relay.relay.breath = OPEN;
					}else{
						mcu_control_data.relay.relay.breath = CLOSE;
					}

					/**************************感光控制*****************************/
					open_flag = false;
					for(uint8_t i = 0;i<3;i++){
						if(i == 0){
							if(now_time_stamp.oneday_time_stamp < all_table_data.set_sensitive[i].time_sta){
								to_app.next_sensitive = all_table_data.set_sensitive[i];
							}
						}

						if(now_time_stamp.oneday_time_stamp >= all_table_data.set_sensitive[i].time_sta
							&& now_time_stamp.oneday_time_stamp <= all_table_data.set_sensitive[i].time_end){
							open_flag = true;
							if(i < 2){
								to_app.next_sensitive = all_table_data.set_sensitive[i+1];
							}else{
								to_app.next_sensitive = all_table_data.set_sensitive[0];
							}
							break;
						}

						if(i < 2){
							if(now_time_stamp.oneday_time_stamp > all_table_data.set_sensitive[i].time_sta
								&& now_time_stamp.oneday_time_stamp < all_table_data.set_sensitive[i+1].time_sta){
									to_app.next_sensitive = all_table_data.set_sensitive[i+1];
								}
						}else{
							 if(now_time_stamp.oneday_time_stamp > all_table_data.set_sensitive[i].time_sta){
									to_app.next_sensitive = all_table_data.set_sensitive[0];
								}
						}

					}

					if(open_flag == true){
						mcu_control_data.relay.relay.sensitive = OPEN;
					}else{
						mcu_control_data.relay.relay.sensitive = CLOSE;
					}

					/**************************光照控制*****************************/
					open_flag = false;
					for(uint8_t i = 0;i<3;i++){

						if(i == 0){
							if(now_time_stamp.oneday_time_stamp < all_table_data.set_light[i].time_end){
								to_app.next_light = all_table_data.set_light[i];
							}
						}

						if(now_time_stamp.oneday_time_stamp >= all_table_data.set_light[i].time_sta
							&& now_time_stamp.oneday_time_stamp <= all_table_data.set_light[i].time_end){
							open_flag = true;
							if(i < 2){
								to_app.next_light = all_table_data.set_light[i+1];
							}else{
								to_app.next_light = all_table_data.set_light[0];
							}
							break;
						}

						if(i < 2){
							if(now_time_stamp.oneday_time_stamp > all_table_data.set_light[i].time_sta
								&& now_time_stamp.oneday_time_stamp < all_table_data.set_light[i+1].time_sta){
									to_app.next_light = all_table_data.set_light[i+1];
								}
						}else{
							 if(now_time_stamp.oneday_time_stamp > all_table_data.set_light[i].time_sta){
									to_app.next_light = all_table_data.set_light[0];
								}
						}

					}

					if(open_flag == true){
						mcu_control_data.relay.relay.light = OPEN;
					}else{
						mcu_control_data.relay.relay.light = CLOSE;
					}

					/**************************消毒控制*****************************/
					open_flag = false;
					for(uint8_t i = 0;i<4;i++){
						if(i == 0){
							if(now_time_stamp.oneday_time_stamp < all_table_data.set_sterilize[i].time_sta){
								to_app.next_sterilize = all_table_data.set_sterilize[i];
							}
						}

						if(now_time_stamp.oneday_time_stamp >= all_table_data.set_sterilize[i].time_sta
							&& now_time_stamp.oneday_time_stamp <= (all_table_data.set_sterilize[i].time_sta + 60*all_table_data.set_sterilize[i].min_len)){
							open_flag = true;
							if(i < 3){
								to_app.next_sterilize = all_table_data.set_sterilize[i+1];
							}else{
								to_app.next_sterilize = all_table_data.set_sterilize[0];
							}
							break;
						}

						if(i < 3){
							if(now_time_stamp.oneday_time_stamp > all_table_data.set_sterilize[i].time_sta
								&& now_time_stamp.oneday_time_stamp < all_table_data.set_sterilize[i+1].time_sta){
									to_app.next_sterilize = all_table_data.set_sterilize[i+1];
								}
						}else{
							 if(now_time_stamp.oneday_time_stamp > all_table_data.set_sterilize[i].time_sta){
									to_app.next_sterilize = all_table_data.set_sterilize[0];
								}
						}

					}

					if(open_flag == true){
						mcu_control_data.relay.relay.sterilize = OPEN;
					}else{
						mcu_control_data.relay.relay.sterilize = CLOSE;
					}

					/******************************************温差启动匀风*********************************/
					static uint16_t temp_max = 0,temp_min = 65535;
					//，
					temp_max = 0;temp_min = 65535;
					for(uint8_t i= 0;i<6;i++){

						if(to_app.signle_senser[i].senser_status == SENSER_OK){
							if(temp_max <  to_app.signle_senser[i].single_temp)
								temp_max = to_app.signle_senser[i].single_temp;
							if(temp_min > to_app.signle_senser[i].single_temp)
								temp_min = to_app.signle_senser[i].single_temp;
						}

					}
					if(temp_max-temp_min >= all_table_data.set_wind_temp_diff){
						mcu_control_data.relay.relay.wind = OPEN;
					}else if(temp_max-temp_min <= all_table_data.set_wind_temp_diff/2){
						mcu_control_data.relay.relay.wind = CLOSE;
					}else{
						mcu_control_data.relay.relay.wind = CLOSE;
					}

					if(mcu_control_data.air != AIR_CLOSE){
							mcu_control_data.relay.relay.wind = OPEN;
					}

			}else{
				mcu_control_data.relay.relay_vale = 0x00;
			  mcu_control_data.air = AIR_CLOSE;
			}
		 }else if(!table_update_trig.senser_is_ok){
				mcu_control_data.relay.relay_vale = 0x00;
			  mcu_control_data.air = AIR_CLOSE;
	   }
	   to_app.relay_status = mcu_control_data.relay;
		 to_app.air_status = mcu_control_data.air;
		 to_app.now_sensor = all_table_data.set_sensor[0];
		 vTaskDelay(300);
	}
}

void pc_deal_task(void *pvParameters)
{
	static uint16_t time_out = 0;
	while(1){
		if(table_update_trig.change_id == true){
			static TO_APP_Typedef update_to_app;
			memset(download_update_table.id+13,0,7);
			download_update_table.head = TABLE_HEAD;
			download_update_table.tail = TABLE_TAIL;
			flash_write((uint16_t*)&download_update_table,sizeof(UPDATE_ALL_TABLE_TYPEDEF));
			all_table_data = download_update_table;

			download_update_table.head = CHANGE_ID_HEAD;
			download_update_table.tail = CHANGE_ID_TAIL;
			download_update_table.crc = CRC16_2_modbus((uint8_t*)&download_update_table,sizeof(UPDATE_ALL_TABLE_TYPEDEF)-2);
			HAL_UART_Transmit(&huart3,(uint8_t*)&download_update_table,sizeof(UPDATE_ALL_TABLE_TYPEDEF),0xffff);
			update_to_app = to_app;
			memcpy(update_to_app.id,download_update_table.id,sizeof(download_update_table.id));

			to_app = update_to_app;
			table_update_trig.mcu_to_net_trig = true;
			table_update_trig.mcu_to_lcd_trig = true;
			table_update_trig.mcu_id_lcd = true;
			table_update_trig.change_id = false;
		}

	  if(table_update_trig.mcu_to_pc_trig == true){
			static UPDATE_ALL_TABLE_TYPEDEF payload ;
			payload = all_table_data;
			payload.crc = CRC16_2_modbus((uint8_t*)&payload,sizeof(UPDATE_ALL_TABLE_TYPEDEF)-2);
			HAL_UART_Transmit(&huart3,(uint8_t*)&payload,sizeof(UPDATE_ALL_TABLE_TYPEDEF),0xffff);
			vTaskDelay(300);
			table_update_trig.mcu_to_pc_trig = false;
		}
		if(table_update_trig.mcu_send_to_app_to_pc == true){
			table_update_trig.wifi_pc_mode = true;
			network_pc_count = 0;
			static TO_APP_Typedef to_app_data;
			to_app_data = to_app;
      to_app_data.crc = 	CRC16_2_modbus((uint8_t*)&to_app_data,sizeof(TO_APP_Typedef)-2);
			HAL_UART_Transmit(&huart3,(uint8_t*)&to_app_data,sizeof(TO_APP_Typedef),0xffff);
			table_update_trig.mcu_send_to_app_to_pc = false;
		}

		if(table_update_trig.pc_wifi_con == true){
			time_out++;
			if(wifi_cfg.wif_conect_status == true){
				time_out = 0;
				__485_send_cmd.cmd = WIFI_CON_OK;
				__485_send_cmd.crc =  CRC16_2_modbus((uint8_t*)&__485_send_cmd,sizeof(__485_CMD_Type)-2);
				HAL_UART_Transmit(&huart3,(uint8_t*)&__485_send_cmd,sizeof(__485_CMD_Type),0xffff);
				table_update_trig.pc_wifi_con = false;
			}

			if(time_out >= 30){
				time_out = 0;
				__485_send_cmd.cmd = WIFI_CON_FAIL;
				__485_send_cmd.crc =  CRC16_2_modbus((uint8_t*)&__485_send_cmd,sizeof(__485_CMD_Type)-2);
				HAL_UART_Transmit(&huart3,(uint8_t*)&__485_send_cmd,sizeof(__485_CMD_Type),0xffff);
			 table_update_trig.pc_wifi_con = false;
			}
		}

		if(table_update_trig.pc_change_work_status == true){
			work_way_status.crc =  CRC16_2_modbus((uint8_t*)&work_way_status,sizeof(WORK_WAY_TYEP)-2);
			HAL_UART_Transmit(&huart3,(uint8_t*)&work_way_status,sizeof(WORK_WAY_TYEP),0xffff);
			table_update_trig.pc_change_work_status = false;
			flash_store.wifi_cfg = wifi_cfg;
			flash_store.work_way_status = work_way_status;
			flash__write((uint16_t*)&flash_store,sizeof(FLASH_STORE));
		}

//		char *buf;
//		size_t temp = xPortGetFreeHeapSize();
//		sprintf(buf,"%d",temp);

		vTaskDelay(300);
	}
}

//void Send_Air_Cmd(uint8_t mode)
//{
//		memset(&read_data,0,sizeof(read_data));
//						readFlashTest((uint16_t*)&read_data,sizeof(read_data)/2,mode);
//
//		if( read_data.len > 50 &&  read_data.len < 500 ){
//				printf("start to send\r\n");
//				app->ir->valid = 1;
//				app->ir->len = read_data.len;
//				memcpy(app->ir->data, read_data.data, read_data.len * sizeof(uint16_t));
//				IrSend_Start(app->ir);
//		}
//}
/* USER CODE END 4 */

void StartDefaultTask(void const * argument)
{
  /* USER CODE BEGIN 5 */
  /* Infinite loop */
  for(;;)
  {
		printf("hello\r\n");
    osDelay(1000);
  }
  /* USER CODE END 5 */
}

 /**
  * @brief  Period elapsed callback in non blocking mode
  * @note   This function is called  when TIM1 interrupt took place, inside
  * HAL_TIM_IRQHandler(). It makes a direct call to HAL_IncTick() to increment
  * a global variable "uwTick" used as application time base.
  * @param  htim : TIM handle
  * @retval None
  */

void Error_Handler(void)
{
  __disable_irq();
  while (1)
  {
  }
}

/************************ (C) COPYRIGHT STMicroelectronics *****END OF FILE****/
